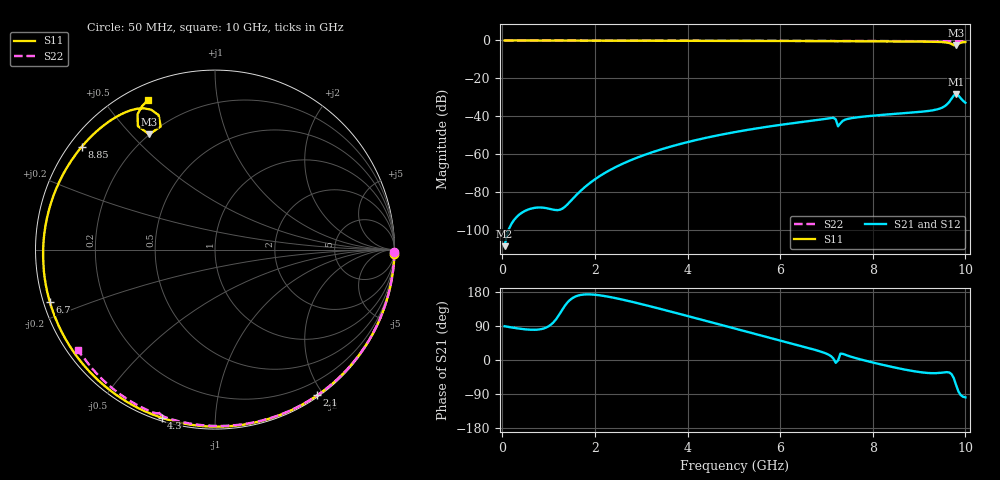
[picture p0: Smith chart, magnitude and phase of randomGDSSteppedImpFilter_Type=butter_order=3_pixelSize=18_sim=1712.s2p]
! freq	dB(S11)	phase(S11)	dB(S12)	phase(S12)
!  dB(S21)	phase(S21)	dB(S22)	phase(S22)
!S-par simulation data
#  GHz  S  DB  R 50
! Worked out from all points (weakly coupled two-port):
!   200 points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, 50 MHz to 10 GHz, reference 50 ohm
!   highest |S21| = -28.18 dB at 9.8 GHz (marker M1); lowest = -108.3 dB at 50 MHz (marker M2)
!   lowest |S11| = -2.6 dB at 9.8 GHz (marker M3), VSWR 6.67, Z = 9.95 + j28.2 ohm
!   |S11| at or under -10 dB: nowhere
!   |S22| runs from -0.5 to 0.0 dB; largest |S21 - S12| = 0
!   S11 on the Smith chart (normalised r, x): 50 MHz: 0, -85; 2.1 GHz: 0.02, -1.92; 4.3 GHz: 0.01, -0.73; 6.7 GHz: 0.02, -0.16; 8.85 GHz: 0.04, +0.34; 10 GHz: 0.07, +0.65
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0.05  -0.00 -1.4  -108.34 89.1  -108.34 89.1  -0.00 -0.8
0.8  -0.03 -21.3  -87.97 80.7  -87.97 80.7  -0.02 -13.3
1.65  -0.05 -43.5  -80.18 170.5  -80.18 170.5  -0.03 -27.2
1.75  -0.06 -46.1  -77.91 172.6  -77.91 172.6  -0.04 -28.8
2.1  -0.07 -54.9  -71.49 170.8  -71.49 170.8  -0.04 -34.4
2.7  -0.09 -69.8  -63.83 156.4  -63.83 156.4  -0.06 -43.9
3.4  -0.11 -86.7  -57.59 135.3  -57.59 135.3  -0.07 -54.7
4.3  -0.15 -107.6  -51.81 106.4  -51.81 106.4  -0.10 -68.1
5.05  -0.19 -124.7  -48.14 82.2  -48.14 82.2  -0.12 -78.9
6.7  -0.31 -162.4  -42.24 28.6  -42.24 28.6  -0.20 -101.6
7.15  -0.35 -173.1  -40.74 3.8  -40.74 3.8  -0.27 -108.1
7.2  -0.35 -174.3  -41.51 -7.4  -41.51 -7.4  -0.37 -108.8
7.25  -0.36 -175.5  -45.19 -1.4  -45.19 -1.4  -0.42 -108.4
7.35  -0.37 -177.9  -42.40 16.3  -42.40 16.3  -0.28 -109.6
7.45  -0.38 179.7  -41.38 11.9  -41.38 11.9  -0.26 -111.1
8.35  -0.48 156.5  -38.90 -16.5  -38.90 -16.5  -0.32 -122.8
8.85  -0.56 142.4  -37.95 -28.8  -37.95 -28.8  -0.36 -129.2
9.5  -0.85 121.1  -35.36 -33.2  -35.36 -33.2  -0.44 -137.4
9.7  -1.80 112.7  -30.74 -37.1  -30.74 -37.1  -0.47 -139.9
9.8  -2.62 119.7  -28.18 -66.2  -28.18 -66.2  -0.46 -141.0
9.9  -1.22 119.8  -30.48 -92.7  -30.48 -92.7  -0.46 -142.4
10  -0.80 114.1  -32.80 -98.6  -32.80 -98.6  -0.48 -143.7
